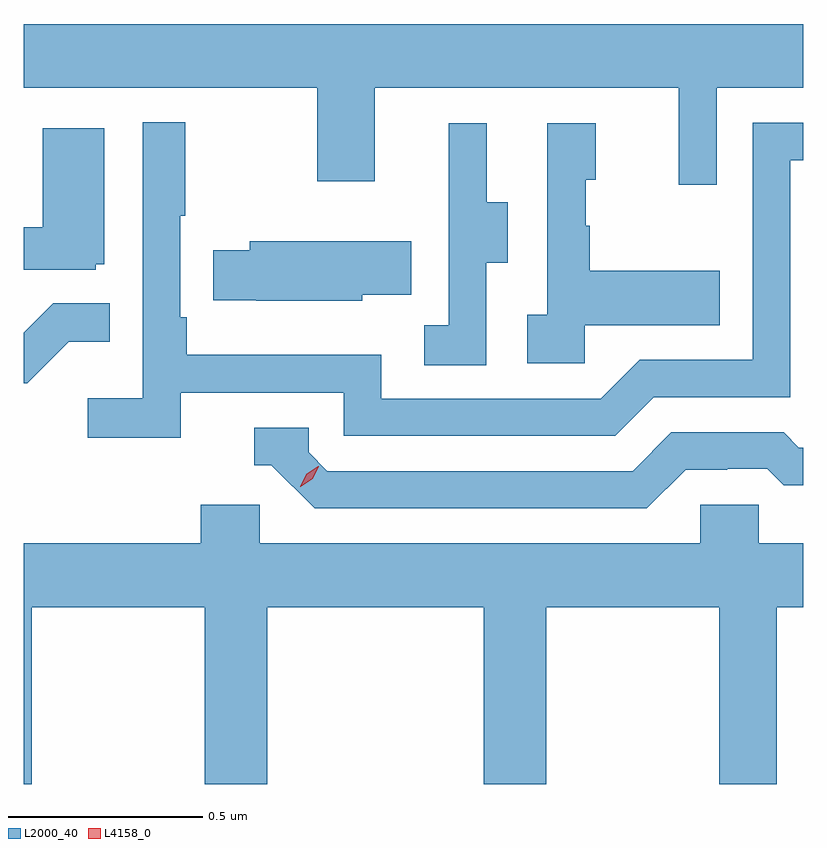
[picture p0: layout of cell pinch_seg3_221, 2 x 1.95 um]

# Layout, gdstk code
import gdstk
lib = gdstk.Library(unit=1e-6, precision=1e-09)
def P(c, l, *ps):  # polygons
    for p in ps: c.add(gdstk.Polygon(p, *l))
L2000_40 = (2000, 40)
L4158_0 = (4158, 0)

pinch_seg3_221 = lib.new_cell('pinch_seg3_221')
P(pinch_seg3_221, L2000_40, [(922.983,739.544),(923.205,739.544),(923.205,739.708),(921.205,739.708),(921.205,739.544),(921.958,739.544),(921.958,739.305),(922.105,739.305),(922.105,739.544),(922.886,739.544),(922.886,739.296),(922.983,739.296)],
  [(921.608,738.762),(922.026,738.762),(922.026,738.651),(922.723,738.651),(922.822,738.75),(923.172,738.75),(923.172,739.359),(923.205,739.359),(923.205,739.455),(923.076,739.455),(923.076,738.846),(922.785,738.846),(922.686,738.747),(922.122,738.747),(922.122,738.859),(921.623,738.859),(921.623,738.955),(921.606,738.955),(921.606,739.216),(921.619,739.216),(921.619,739.456),(921.51,739.456),(921.51,738.748),(921.369,738.748),(921.369,738.646),(921.608,738.646)],
  [(922.392,739.096),(922.447,739.096),(922.447,739.251),(922.393,739.251),(922.393,739.453),(922.295,739.453),(922.295,739.239),(922.296,739.239),(922.296,738.935),(922.233,738.935),(922.233,738.832),(922.392,738.832)],
  [(922.644,738.935),(922.991,738.935),(922.991,739.075),(922.657,739.075),(922.657,739.19),(922.647,739.19),(922.647,739.308),(922.672,739.308),(922.672,739.453),(922.548,739.453),(922.548,738.962),(922.497,738.962),(922.497,738.837),(922.644,738.837)],
  [(921.39,739.092),(921.412,739.092),(921.412,739.441),(921.254,739.441),(921.254,739.186),(921.205,739.186),(921.205,739.077),(921.39,739.077)],
  [(922.074,739.013),(922.199,739.013),(922.199,739.15),(921.785,739.15),(921.785,739.128),(921.691,739.128),(921.691,738.999),(921.802,738.999),(921.802,738.998),(922.074,738.998)],
  [(921.321,738.893),(921.425,738.893),(921.425,738.992),(921.281,738.992),(921.205,738.916),(921.205,738.786),(921.214,738.786)],
  [(922.903,738.564),(923.01,738.564),(923.01,738.567),(923.113,738.567),(923.155,738.525),(923.205,738.525),(923.205,738.621),(923.194,738.621),(923.155,738.66),(922.866,738.66),(922.767,738.561),(921.984,738.561),(921.936,738.609),(921.936,738.672),(921.797,738.672),(921.797,738.576),(921.84,738.576),(921.951,738.465),(922.804,738.465)],
  [(921.225,738.212),(921.67,738.212),(921.67,737.758),(921.83,737.758),(921.83,738.212),(922.385,738.212),(922.385,737.758),(922.545,737.758),(922.545,738.212),(922.99,738.212),(922.99,737.758),(923.137,737.758),(923.137,738.212),(923.205,738.212),(923.205,738.376),(923.091,738.376),(923.091,738.474),(922.941,738.474),(922.941,738.376),(921.81,738.376),(921.81,738.474),(921.659,738.474),(921.659,738.376),(921.205,738.376),(921.205,737.758),(921.225,737.758)])
P(pinch_seg3_221, L4158_0, [(921.915,738.521),(921.915,738.522),(921.931,738.554),(921.961,738.573),(921.962,738.573),(921.962,738.573),(921.946,738.541),(921.916,738.521)])

lib.write_gds('pinch_seg3_221.gds')
